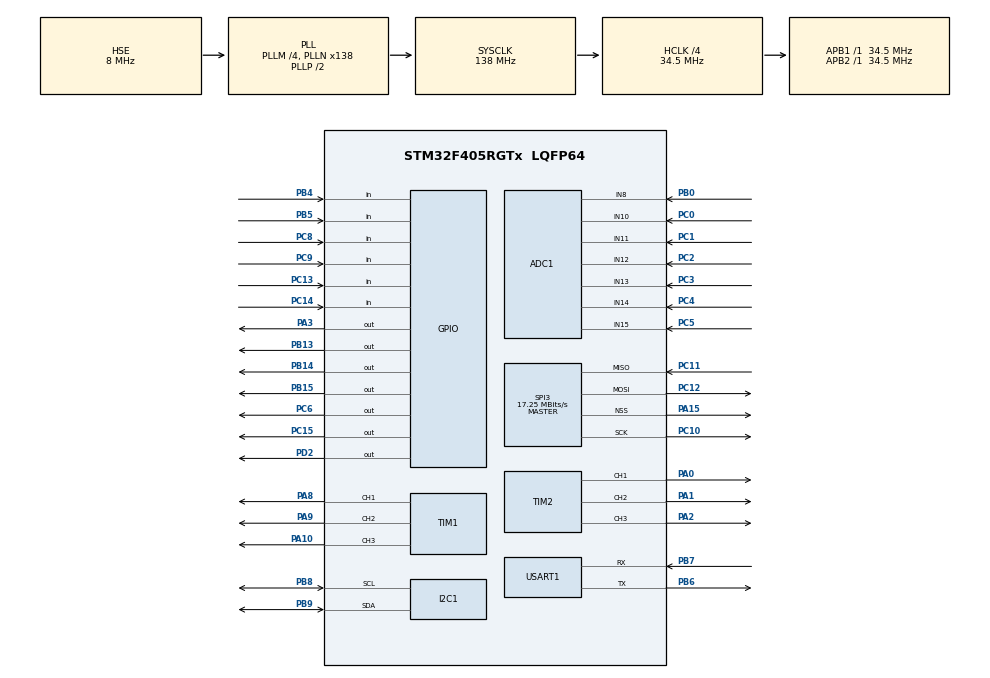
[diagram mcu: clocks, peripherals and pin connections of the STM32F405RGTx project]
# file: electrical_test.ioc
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ADC1.Channel-0\#ChannelRegularConversion=ADC_CHANNEL_14
ADC1.NbrOfConversionFlag=1
ADC1.Rank-0\#ChannelRegularConversion=1
ADC1.SamplingTime-0\#ChannelRegularConversion=ADC_SAMPLETIME_3CYCLES
ADC1.master=1
Mcu.Family=STM32F4
Mcu.Name=STM32F405RGTx
Mcu.Package=LQFP64
NVIC.PriorityGroup=NVIC_PRIORITYGROUP_4
PA0-WKUP.Signal=S_TIM2_CH1_ETR
PA1.Signal=S_TIM2_CH2
PA10.Signal=S_TIM1_CH3
PA13.Mode=Trace_Asynchronous_SW
PA13.Signal=SYS_JTMS-SWDIO
PA14.Mode=Trace_Asynchronous_SW
PA14.Signal=SYS_JTCK-SWCLK
PA15.Mode=NSS_Signal_Hard_Output
PA15.Signal=SPI3_NSS
PA2.Signal=S_TIM2_CH3
PA3.Signal=GPIO_Output
PA8.Signal=S_TIM1_CH1
PA9.Signal=S_TIM1_CH2
PB0.Signal=ADCx_IN8
PB13.Signal=GPIO_Output
PB14.Signal=GPIO_Output
PB15.Signal=GPIO_Output
PB3.Mode=Trace_Asynchronous_SW
PB3.Signal=SYS_JTDO-SWO
PB4.Signal=GPIO_Input
PB5.Signal=GPIO_Input
PB6.Mode=Asynchronous
PB6.Signal=USART1_TX
PB7.Mode=Asynchronous
PB7.Signal=USART1_RX
PB8.Mode=I2C
PB8.Signal=I2C1_SCL
PB9.Mode=I2C
PB9.Signal=I2C1_SDA
PC0.Signal=ADCx_IN10
PC1.Signal=ADCx_IN11
PC10.Mode=Full_Duplex_Master
PC10.Signal=SPI3_SCK
PC11.Mode=Full_Duplex_Master
PC11.Signal=SPI3_MISO
PC12.Mode=Full_Duplex_Master
PC12.Signal=SPI3_MOSI
PC13-ANTI_TAMP.Signal=GPIO_Input
PC14-OSC32_IN.Signal=GPIO_Input
PC15-OSC32_OUT.Signal=GPIO_Output
PC2.Signal=ADCx_IN12
PC3.Signal=ADCx_IN13
PC4.Signal=ADCx_IN14
PC5.Signal=ADCx_IN15
PC6.Signal=GPIO_Output
PC8.Signal=GPIO_Input
PC9.Signal=GPIO_Input
PD2.Signal=GPIO_Output
PH0-OSC_IN.Mode=HSE-External-Oscillator
PH0-OSC_IN.Signal=RCC_OSC_IN
PH1-OSC_OUT.Mode=HSE-External-Oscillator
PH1-OSC_OUT.Signal=RCC_OSC_OUT
ProjectManager.HeapSize=0x200
ProjectManager.StackSize=0x400
ProjectManager.TargetToolchain=Makefile
RCC.48MHZClocksFreq_Value=69000000
RCC.AHBCLKDivider=RCC_SYSCLK_DIV4
RCC.AHBFreq_Value=34500000
RCC.APB1Freq_Value=34500000
RCC.APB1TimFreq_Value=34500000
RCC.APB2Freq_Value=34500000
RCC.APB2TimFreq_Value=34500000
RCC.CortexFreq_Value=34500000
RCC.HCLKFreq_Value=34500000
RCC.HSE_VALUE=8000000
RCC.HSI_VALUE=16000000
RCC.LSE_VALUE=32768
RCC.PLLM=4
RCC.PLLN=138
RCC.PLLSourceVirtual=RCC_PLLSOURCE_HSE
RCC.SYSCLKFreq_VALUE=138000000
RCC.SYSCLKSource=RCC_SYSCLKSOURCE_PLLCLK
RCC.VCOOutputFreq_Value=276000000
SH.ADCx_IN10.0=ADC1_IN10,IN10
SH.ADCx_IN11.0=ADC1_IN11,IN11
SH.ADCx_IN12.0=ADC1_IN12,IN12
SH.ADCx_IN13.0=ADC1_IN13,IN13
SH.ADCx_IN14.0=ADC1_IN14,IN14
SH.ADCx_IN15.0=ADC1_IN15,IN15
SH.ADCx_IN8.0=ADC1_IN8,IN8
SH.S_TIM1_CH1.0=TIM1_CH1,PWM Generation1 CH1
SH.S_TIM1_CH2.0=TIM1_CH2,PWM Generation2 CH2
SH.S_TIM1_CH3.0=TIM1_CH3,PWM Generation3 CH3
SH.S_TIM2_CH1_ETR.0=TIM2_CH1,PWM Generation1 CH1
SH.S_TIM2_CH2.0=TIM2_CH2,PWM Generation2 CH2
SH.S_TIM2_CH3.0=TIM2_CH3,PWM Generation3 CH3
SPI3.CalculateBaudRate=17.25 MBits/s
SPI3.Direction=SPI_DIRECTION_2LINES
SPI3.Mode=SPI_MODE_MASTER
SPI3.VirtualNSS=VM_NSSHARD
SPI3.VirtualType=VM_MASTER
TIM1.Channel-PWM\ Generation1\ CH1=TIM_CHANNEL_1
TIM1.Channel-PWM\ Generation2\ CH2=TIM_CHANNEL_2
TIM1.Channel-PWM\ Generation3\ CH3=TIM_CHANNEL_3
TIM2.Channel-PWM\ Generation1\ CH1=TIM_CHANNEL_1
TIM2.Channel-PWM\ Generation2\ CH2=TIM_CHANNEL_2
TIM2.Channel-PWM\ Generation3\ CH3=TIM_CHANNEL_3
USART1.VirtualMode=VM_ASYNC
VP_TIM1_VS_ClockSourceINT.Mode=Internal
VP_TIM2_VS_ClockSourceINT.Mode=Internal
board=custom

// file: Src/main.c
/**
  ******************************************************************************
  * @file           : main.c
  * @brief          : Main program body
  ******************************************************************************
  ** This notice applies to any and all portions of this file
  * that are not between comment pairs USER CODE BEGIN and
  * USER CODE END. Other portions of this file, whether
  * inserted by the user or by software development tools
  * are owned by their respective copyright owners.
  *
  * COPYRIGHT(c) 2018 STMicroelectronics
  *
  * Redistribution and use in source and binary forms, with or without modification,
  * are permitted provided that the following conditions are met:
  *   1. Redistributions of source code must retain the above copyright notice,
  *      this list of conditions and the following disclaimer.
  *   2. Redistributions in binary form must reproduce the above copyright notice,
  *      this list of conditions and the following disclaimer in the documentation
  *      and/or other materials provided with the distribution.
  *   3. Neither the name of STMicroelectronics nor the names of its contributors
  *      may be used to endorse or promote products derived from this software
  *      without specific prior written permission.
  *
  * THIS SOFTWARE IS PROVIDED BY THE COPYRIGHT HOLDERS AND CONTRIBUTORS "AS IS"
  * AND ANY EXPRESS OR IMPLIED WARRANTIES, INCLUDING, BUT NOT LIMITED TO, THE
  * IMPLIED WARRANTIES OF MERCHANTABILITY AND FITNESS FOR A PARTICULAR PURPOSE ARE
  * DISCLAIMED. IN NO EVENT SHALL THE COPYRIGHT HOLDER OR CONTRIBUTORS BE LIABLE
  * FOR ANY DIRECT, INDIRECT, INCIDENTAL, SPECIAL, EXEMPLARY, OR CONSEQUENTIAL
  * DAMAGES (INCLUDING, BUT NOT LIMITED TO, PROCUREMENT OF SUBSTITUTE GOODS OR
  * SERVICES; LOSS OF USE, DATA, OR PROFITS; OR BUSINESS INTERRUPTION) HOWEVER
  * CAUSED AND ON ANY THEORY OF LIABILITY, WHETHER IN CONTRACT, STRICT LIABILITY,
  * OR TORT (INCLUDING NEGLIGENCE OR OTHERWISE) ARISING IN ANY WAY OUT OF THE USE
  * OF THIS SOFTWARE, EVEN IF ADVISED OF THE POSSIBILITY OF SUCH DAMAGE.
  *
  ******************************************************************************
  */
#include "main.h"
#include "stm32f4xx_hal.h"

/* USER CODE BEGIN Includes */

#include <string.h>

/* USER CODE END Includes */

ADC_HandleTypeDef hadc1;

I2C_HandleTypeDef hi2c1;

SPI_HandleTypeDef hspi3;

TIM_HandleTypeDef htim1;
TIM_HandleTypeDef htim2;

UART_HandleTypeDef huart1;

/* USER CODE BEGIN PV */
/* Private variables ---------------------------------------------------------*/

/* USER CODE END PV */

void SystemClock_Config(void);
static void MX_GPIO_Init(void);
static void MX_ADC1_Init(void);
static void MX_SPI3_Init(void);
static void MX_USART1_UART_Init(void);
static void MX_I2C1_Init(void);
static void MX_TIM1_Init(void);
static void MX_TIM2_Init(void);

void HAL_TIM_MspPostInit(TIM_HandleTypeDef *htim);

/* USER CODE BEGIN PFP */
/* Private function prototypes -----------------------------------------------*/

/* USER CODE END PFP */

/* USER CODE BEGIN 0 */

#define N_ADC_CHANNEL 7

#define PWM_HIGH 50
#define PWM_LOW 5

static void set_motor_state(uint32_t state) {
  TIM_OC_InitTypeDef sConfigOC;

  memset(&sConfigOC, 0, sizeof(sConfigOC));
	sConfigOC.OCMode = TIM_OCMODE_PWM1;
  sConfigOC.Pulse = 0;
  sConfigOC.OCPolarity = TIM_OCPOLARITY_HIGH;
  sConfigOC.OCNPolarity = TIM_OCNPOLARITY_HIGH;
  sConfigOC.OCFastMode = TIM_OCFAST_DISABLE;
  sConfigOC.OCIdleState = TIM_OCIDLESTATE_RESET;
  sConfigOC.OCNIdleState = TIM_OCNIDLESTATE_RESET;

  if (state & 1)
    sConfigOC.Pulse = PWM_HIGH;
  else
    sConfigOC.Pulse = PWM_LOW;

  // MOT_PWM_A
  if (HAL_TIM_PWM_ConfigChannel(&htim1, &sConfigOC, TIM_CHANNEL_3) != HAL_OK) {
      _Error_Handler(__FILE__, __LINE__);
  }
  HAL_TIM_PWM_Start(&htim1, TIM_CHANNEL_3);

  // LED_R
  if (HAL_TIM_PWM_ConfigChannel(&htim2, &sConfigOC, TIM_CHANNEL_1) != HAL_OK) {
      _Error_Handler(__FILE__, __LINE__);
  }
  HAL_TIM_PWM_Start(&htim2, TIM_CHANNEL_1);

  if (state & 2)
    sConfigOC.Pulse = PWM_HIGH;
  else
    sConfigOC.Pulse = PWM_LOW;

  // MOT_PWM_B
  if (HAL_TIM_PWM_ConfigChannel(&htim1, &sConfigOC, TIM_CHANNEL_2) != HAL_OK) {
      _Error_Handler(__FILE__, __LINE__);
  }
  HAL_TIM_PWM_Start(&htim1, TIM_CHANNEL_2);

  // LED_B
  if (HAL_TIM_PWM_ConfigChannel(&htim2, &sConfigOC, TIM_CHANNEL_2) != HAL_OK) {
      _Error_Handler(__FILE__, __LINE__);
  }
  HAL_TIM_PWM_Start(&htim2, TIM_CHANNEL_2);

  if (state & 4)
    sConfigOC.Pulse = PWM_HIGH;
  else
    sConfigOC.Pulse = PWM_LOW;

  // MOT_PWM_C
  if (HAL_TIM_PWM_ConfigChannel(&htim1, &sConfigOC, TIM_CHANNEL_1) != HAL_OK) {
      _Error_Handler(__FILE__, __LINE__);
  }
  HAL_TIM_PWM_Start(&htim1, TIM_CHANNEL_1);

  // LED_G
  if (HAL_TIM_PWM_ConfigChannel(&htim2, &sConfigOC, TIM_CHANNEL_3) != HAL_OK) {
      _Error_Handler(__FILE__, __LINE__);
  }
  HAL_TIM_PWM_Start(&htim2, TIM_CHANNEL_3);
}

#define ACCEL_I2C_ADDR 0xD4
#define ACCEL_WHOAMI_ADDR 0x0F

/* USER CODE END 0 */

int main(void)
{

  /* MCU Configuration----------------------------------------------------------*/

  /* Reset of all peripherals, Initializes the Flash interface and the Systick. */
  HAL_Init();

  /* Configure the system clock */
  SystemClock_Config();

  /* Initialize all configured peripherals */
  MX_GPIO_Init();
  MX_ADC1_Init();
  MX_SPI3_Init();
  MX_USART1_UART_Init();
  MX_I2C1_Init();
  MX_TIM1_Init();
  MX_TIM2_Init();
  /* USER CODE BEGIN 2 */

  // Set RS485_DIR to drive
  HAL_GPIO_WritePin(GPIOD, GPIO_PIN_2, GPIO_PIN_SET);

  // Enable RS485_SHUNT
  HAL_GPIO_WritePin(GPIOC, GPIO_PIN_15, GPIO_PIN_SET);

  // Set LEDs off by default
  HAL_GPIO_WritePin(GPIOA, GPIO_PIN_3 | GPIO_PIN_2 | GPIO_PIN_1 | GPIO_PIN_0, GPIO_PIN_SET);

  // Enable 12V Supply
  //HAL_GPIO_WritePin(GPIOC, GPIO_PIN_6, GPIO_PIN_SET);

  // Disable Motor Resets
  //HAL_GPIO_WritePin(GPIOB, GPIO_PIN_15 | GPIO_PIN_14 | GPIO_PIN_13, GPIO_PIN_SET);

	uint8_t str_buf[128];

  uint32_t count = 0;
  uint32_t adc_value = 0;
  uint32_t adc_values[N_ADC_CHANNEL];

  uint8_t adc_names[N_ADC_CHANNEL][64];
  strcpy(adc_names[0], "VSENSE_VIN");
  strcpy(adc_names[1], "VSENSE_A");
  strcpy(adc_names[2], "VSENSE_B");
  strcpy(adc_names[3], "VSENSE_C");
  strcpy(adc_names[4], "ISENSE_A");
  strcpy(adc_names[5], "ISENSE_B");
  strcpy(adc_names[6], "ISENSE_C");

  ADC_ChannelConfTypeDef sConfig;
  sConfig.Channel = ADC_CHANNEL_13;
  sConfig.Rank = 1;
  sConfig.SamplingTime = ADC_SAMPLETIME_3CYCLES;

  uint32_t adc_channels[7];
  adc_channels[0] = ADC_CHANNEL_13;
	adc_channels[1] = ADC_CHANNEL_10;
  adc_channels[2] = ADC_CHANNEL_11;
  adc_channels[3] = ADC_CHANNEL_12;
  adc_channels[4] = ADC_CHANNEL_14;
  adc_channels[5] = ADC_CHANNEL_15;
  adc_channels[6] = ADC_CHANNEL_8;

  uint32_t mot_state = 0;

  GPIO_PinState octw_state;
  GPIO_PinState fault_state;

  uint8_t i2c_buf[32];
  HAL_StatusTypeDef last_i2c_write_status;
  HAL_StatusTypeDef last_i2c_read_status;

  uint8_t spi_tx_buf[32];
  uint8_t spi_rx_buf[32];
  HAL_StatusTypeDef last_spi_status;

  /* USER CODE END 2 */

  /* Infinite loop */
  /* USER CODE BEGIN WHILE */
  while (1) {

    // Cycle reset lines to clear any fault
    //HAL_GPIO_WritePin(GPIOB, GPIO_PIN_15 | GPIO_PIN_14 | GPIO_PIN_13, GPIO_PIN_RESET);
    //HAL_Delay(10);
    //HAL_GPIO_WritePin(GPIOB, GPIO_PIN_15 | GPIO_PIN_14 | GPIO_PIN_13, GPIO_PIN_SET);

    // Set motor state
    //mot_state = (mot_state + 1) % 4;

    //set_motor_state(7);

    // Toggle LED
    HAL_GPIO_WritePin(GPIOA, GPIO_PIN_3, GPIO_PIN_RESET);
    HAL_Delay(190);

    // Read motor driver overcurrent and fault bits
    //octw_state = HAL_GPIO_ReadPin(GPIOC, GPIO_PIN_9);
    //fault_state = HAL_GPIO_ReadPin(GPIOC, GPIO_PIN_8);

    //sprintf(str_buf, "count:%d state:%d octw:%d fault:%d\r\n", count, mot_state, octw_state, fault_state);
    //HAL_UART_Transmit(&huart1, str_buf, strlen(str_buf), 0xFFFF);
    count += 1;

    // Read accelerometer via I2C
    //i2c_buf[0] = ACCEL_WHOAMI_ADDR;
    //last_i2c_write_status = HAL_I2C_Master_Transmit(&hi2c1, ACCEL_I2C_ADDR, i2c_buf, 1, 1000);
    //last_i2c_read_status = HAL_I2C_Master_Receive(&hi2c1, ACCEL_I2C_ADDR, i2c_buf, 1, 1000);

    //sprintf(str_buf, "WS:%d RS:%d RD:0x%02X\r\n", last_i2c_write_status, last_i2c_read_status, i2c_buf[0]);
    //HAL_UART_Transmit(&huart1, str_buf, strlen(str_buf), 0xFFFF);

    // Read magnetometer via SPI
    //last_spi_status = HAL_SPI_TransmitReceive(&hspi3, spi_tx_buf, spi_rx_buf, 2, 1000);
    //sprintf(str_buf, "TRS:%d RD:0x%02X%02X\r\n", last_spi_status, spi_rx_buf[0], spi_rx_buf[1]);
    //HAL_UART_Transmit(&huart1, str_buf, strlen(str_buf), 0xFFFF);

    /*
    for(int i = 0; i < N_ADC_CHANNEL; i++) {
      sConfig.Channel = adc_channels[i];

      if (HAL_ADC_ConfigChannel(&hadc1, &sConfig) != HAL_OK) {
        _Error_Handler(__FILE__, __LINE__);
      }

      HAL_ADC_Start(&hadc1);
      if (HAL_ADC_PollForConversion(&hadc1, 10) == HAL_OK) {
        adc_values[i] = HAL_ADC_GetValue(&hadc1);
      }
    }

    sprintf(buf, "VA:%04d VB:%04d VC:%04d VIN:%04d\r\n", adc_values[1], adc_values[2], adc_values[3], adc_values[0]);
    HAL_UART_Transmit(&huart1, buf, strlen(buf), 0xFFFF);

    sprintf(buf, "IA:%04d IB:%04d IC:%04d\r\n", adc_values[4], adc_values[5], adc_values[6]);
    HAL_UART_Transmit(&huart1, buf, strlen(buf), 0xFFFF);
    */

    // Toggle LED
    HAL_GPIO_WritePin(GPIOA, GPIO_PIN_3, GPIO_PIN_SET);
    HAL_Delay(200);

  /* USER CODE END WHILE */

  }

}

void SystemClock_Config(void)
{

  RCC_OscInitTypeDef RCC_OscInitStruct;
  RCC_ClkInitTypeDef RCC_ClkInitStruct;

    /**Configure the main internal regulator output voltage
    */
  __HAL_RCC_PWR_CLK_ENABLE();

  __HAL_PWR_VOLTAGESCALING_CONFIG(PWR_REGULATOR_VOLTAGE_SCALE1);

    /**Initializes the CPU, AHB and APB busses clocks
    */
  RCC_OscInitStruct.OscillatorType = RCC_OSCILLATORTYPE_HSE;
  RCC_OscInitStruct.HSEState = RCC_HSE_ON;
  RCC_OscInitStruct.PLL.PLLState = RCC_PLL_ON;
  RCC_OscInitStruct.PLL.PLLSource = RCC_PLLSOURCE_HSE;
  RCC_OscInitStruct.PLL.PLLM = 4;
  RCC_OscInitStruct.PLL.PLLN = 138;
  RCC_OscInitStruct.PLL.PLLP = RCC_PLLP_DIV2;
  RCC_OscInitStruct.PLL.PLLQ = 4;
  if (HAL_RCC_OscConfig(&RCC_OscInitStruct) != HAL_OK)
  {
    _Error_Handler(__FILE__, __LINE__);
  }

    /**Initializes the CPU, AHB and APB busses clocks
    */
  RCC_ClkInitStruct.ClockType = RCC_CLOCKTYPE_HCLK|RCC_CLOCKTYPE_SYSCLK
                              |RCC_CLOCKTYPE_PCLK1|RCC_CLOCKTYPE_PCLK2;
  RCC_ClkInitStruct.SYSCLKSource = RCC_SYSCLKSOURCE_PLLCLK;
  RCC_ClkInitStruct.AHBCLKDivider = RCC_SYSCLK_DIV4;
  RCC_ClkInitStruct.APB1CLKDivider = RCC_HCLK_DIV1;
  RCC_ClkInitStruct.APB2CLKDivider = RCC_HCLK_DIV1;

  if (HAL_RCC_ClockConfig(&RCC_ClkInitStruct, FLASH_LATENCY_1) != HAL_OK)
  {
    _Error_Handler(__FILE__, __LINE__);
  }

    /**Configure the Systick interrupt time
    */
  HAL_SYSTICK_Config(HAL_RCC_GetHCLKFreq()/1000);

    /**Configure the Systick
    */
  HAL_SYSTICK_CLKSourceConfig(SYSTICK_CLKSOURCE_HCLK);

  /* SysTick_IRQn interrupt configuration */
  HAL_NVIC_SetPriority(SysTick_IRQn, 0, 0);
}

/* ADC1 init function */
static void MX_ADC1_Init(void)
{

  ADC_ChannelConfTypeDef sConfig;

    /**Configure the global features of the ADC (Clock, Resolution, Data Alignment and number of conversion)
    */
  hadc1.Instance = ADC1;
  hadc1.Init.ClockPrescaler = ADC_CLOCK_SYNC_PCLK_DIV2;
  hadc1.Init.Resolution = ADC_RESOLUTION_12B;
  hadc1.Init.ScanConvMode = DISABLE;
  hadc1.Init.ContinuousConvMode = DISABLE;
  hadc1.Init.DiscontinuousConvMode = DISABLE;
  hadc1.Init.ExternalTrigConvEdge = ADC_EXTERNALTRIGCONVEDGE_NONE;
  hadc1.Init.ExternalTrigConv = ADC_SOFTWARE_START;
  hadc1.Init.DataAlign = ADC_DATAALIGN_RIGHT;
  hadc1.Init.NbrOfConversion = 1;
  hadc1.Init.DMAContinuousRequests = DISABLE;
  hadc1.Init.EOCSelection = ADC_EOC_SINGLE_CONV;
  if (HAL_ADC_Init(&hadc1) != HAL_OK)
  {
    _Error_Handler(__FILE__, __LINE__);
  }

    /**Configure for the selected ADC regular channel its corresponding rank in the sequencer and its sample time.
    */
  sConfig.Channel = ADC_CHANNEL_14;
  sConfig.Rank = 1;
  sConfig.SamplingTime = ADC_SAMPLETIME_3CYCLES;
  if (HAL_ADC_ConfigChannel(&hadc1, &sConfig) != HAL_OK)
  {
    _Error_Handler(__FILE__, __LINE__);
  }

}

/* I2C1 init function */
static void MX_I2C1_Init(void)
{

  hi2c1.Instance = I2C1;
  hi2c1.Init.ClockSpeed = 100000;
  hi2c1.Init.DutyCycle = I2C_DUTYCYCLE_2;
  hi2c1.Init.OwnAddress1 = 0;
  hi2c1.Init.AddressingMode = I2C_ADDRESSINGMODE_7BIT;
  hi2c1.Init.DualAddressMode = I2C_DUALADDRESS_DISABLE;
  hi2c1.Init.OwnAddress2 = 0;
  hi2c1.Init.GeneralCallMode = I2C_GENERALCALL_DISABLE;
  hi2c1.Init.NoStretchMode = I2C_NOSTRETCH_DISABLE;
  if (HAL_I2C_Init(&hi2c1) != HAL_OK)
  {
    _Error_Handler(__FILE__, __LINE__);
  }

}

/* SPI3 init function */
static void MX_SPI3_Init(void)
{

  /* SPI3 parameter configuration*/
  hspi3.Instance = SPI3;
  hspi3.Init.Mode = SPI_MODE_MASTER;
  hspi3.Init.Direction = SPI_DIRECTION_2LINES;
  hspi3.Init.DataSize = SPI_DATASIZE_8BIT;
  hspi3.Init.CLKPolarity = SPI_POLARITY_HIGH;
  hspi3.Init.CLKPhase = SPI_PHASE_2EDGE;
  hspi3.Init.NSS = SPI_NSS_HARD_OUTPUT;
  hspi3.Init.BaudRatePrescaler = SPI_BAUDRATEPRESCALER_64;
  hspi3.Init.FirstBit = SPI_FIRSTBIT_MSB;
  hspi3.Init.TIMode = SPI_TIMODE_DISABLE;
  hspi3.Init.CRCCalculation = SPI_CRCCALCULATION_DISABLE;
  hspi3.Init.CRCPolynomial = 10;
  if (HAL_SPI_Init(&hspi3) != HAL_OK)
  {
    _Error_Handler(__FILE__, __LINE__);
  }

}

/* TIM1 init function */
static void MX_TIM1_Init(void)
{

  TIM_ClockConfigTypeDef sClockSourceConfig;
  TIM_MasterConfigTypeDef sMasterConfig;
  TIM_OC_InitTypeDef sConfigOC;
  TIM_BreakDeadTimeConfigTypeDef sBreakDeadTimeConfig;

  htim1.Instance = TIM1;
  htim1.Init.Prescaler = 16;
  htim1.Init.CounterMode = TIM_COUNTERMODE_UP;
  htim1.Init.Period = 100;
  htim1.Init.ClockDivision = TIM_CLOCKDIVISION_DIV1;
  htim1.Init.RepetitionCounter = 0;
  if (HAL_TIM_Base_Init(&htim1) != HAL_OK)
  {
    _Error_Handler(__FILE__, __LINE__);
  }

  sClockSourceConfig.ClockSource = TIM_CLOCKSOURCE_INTERNAL;
  if (HAL_TIM_ConfigClockSource(&htim1, &sClockSourceConfig) != HAL_OK)
  {
    _Error_Handler(__FILE__, __LINE__);
  }

  if (HAL_TIM_PWM_Init(&htim1) != HAL_OK)
  {
    _Error_Handler(__FILE__, __LINE__);
  }

  sMasterConfig.MasterOutputTrigger = TIM_TRGO_RESET;
  sMasterConfig.MasterSlaveMode = TIM_MASTERSLAVEMODE_DISABLE;
  if (HAL_TIMEx_MasterConfigSynchronization(&htim1, &sMasterConfig) != HAL_OK)
  {
    _Error_Handler(__FILE__, __LINE__);
  }

  sConfigOC.OCMode = TIM_OCMODE_PWM1;
  sConfigOC.Pulse = 0;
  sConfigOC.OCPolarity = TIM_OCPOLARITY_HIGH;
  sConfigOC.OCNPolarity = TIM_OCNPOLARITY_HIGH;
  sConfigOC.OCFastMode = TIM_OCFAST_DISABLE;
  sConfigOC.OCIdleState = TIM_OCIDLESTATE_RESET;
  sConfigOC.OCNIdleState = TIM_OCNIDLESTATE_RESET;
  if (HAL_TIM_PWM_ConfigChannel(&htim1, &sConfigOC, TIM_CHANNEL_1) != HAL_OK)
  {
    _Error_Handler(__FILE__, __LINE__);
  }

  if (HAL_TIM_PWM_ConfigChannel(&htim1, &sConfigOC, TIM_CHANNEL_2) != HAL_OK)
  {
    _Error_Handler(__FILE__, __LINE__);
  }

  if (HAL_TIM_PWM_ConfigChannel(&htim1, &sConfigOC, TIM_CHANNEL_3) != HAL_OK)
  {
    _Error_Handler(__FILE__, __LINE__);
  }

  sBreakDeadTimeConfig.OffStateRunMode = TIM_OSSR_DISABLE;
  sBreakDeadTimeConfig.OffStateIDLEMode = TIM_OSSI_DISABLE;
  sBreakDeadTimeConfig.LockLevel = TIM_LOCKLEVEL_OFF;
  sBreakDeadTimeConfig.DeadTime = 0;
  sBreakDeadTimeConfig.BreakState = TIM_BREAK_DISABLE;
  sBreakDeadTimeConfig.BreakPolarity = TIM_BREAKPOLARITY_HIGH;
  sBreakDeadTimeConfig.AutomaticOutput = TIM_AUTOMATICOUTPUT_DISABLE;
  if (HAL_TIMEx_ConfigBreakDeadTime(&htim1, &sBreakDeadTimeConfig) != HAL_OK)
  {
    _Error_Handler(__FILE__, __LINE__);
  }

  HAL_TIM_MspPostInit(&htim1);

}

/* TIM2 init function */
static void MX_TIM2_Init(void)
{

  TIM_ClockConfigTypeDef sClockSourceConfig;
  TIM_MasterConfigTypeDef sMasterConfig;
  TIM_OC_InitTypeDef sConfigOC;

  htim2.Instance = TIM2;
  htim2.Init.Prescaler = 16;
  htim2.Init.CounterMode = TIM_COUNTERMODE_UP;
  htim2.Init.Period = 100;
  htim2.Init.ClockDivision = TIM_CLOCKDIVISION_DIV1;
  if (HAL_TIM_Base_Init(&htim2) != HAL_OK)
  {
    _Error_Handler(__FILE__, __LINE__);
  }

  sClockSourceConfig.ClockSource = TIM_CLOCKSOURCE_INTERNAL;
  if (HAL_TIM_ConfigClockSource(&htim2, &sClockSourceConfig) != HAL_OK)
  {
    _Error_Handler(__FILE__, __LINE__);
  }

  if (HAL_TIM_PWM_Init(&htim2) != HAL_OK)
  {
    _Error_Handler(__FILE__, __LINE__);
  }

  sMasterConfig.MasterOutputTrigger = TIM_TRGO_RESET;
  sMasterConfig.MasterSlaveMode = TIM_MASTERSLAVEMODE_DISABLE;
  if (HAL_TIMEx_MasterConfigSynchronization(&htim2, &sMasterConfig) != HAL_OK)
  {
    _Error_Handler(__FILE__, __LINE__);
  }

  sConfigOC.OCMode = TIM_OCMODE_PWM1;
  sConfigOC.Pulse = 0;
  sConfigOC.OCPolarity = TIM_OCPOLARITY_HIGH;
  sConfigOC.OCFastMode = TIM_OCFAST_DISABLE;
  if (HAL_TIM_PWM_ConfigChannel(&htim2, &sConfigOC, TIM_CHANNEL_1) != HAL_OK)
  {
    _Error_Handler(__FILE__, __LINE__);
  }

  if (HAL_TIM_PWM_ConfigChannel(&htim2, &sConfigOC, TIM_CHANNEL_2) != HAL_OK)
  {
    _Error_Handler(__FILE__, __LINE__);
  }

  if (HAL_TIM_PWM_ConfigChannel(&htim2, &sConfigOC, TIM_CHANNEL_3) != HAL_OK)
  {
    _Error_Handler(__FILE__, __LINE__);
  }

  HAL_TIM_MspPostInit(&htim2);

}

/* USART1 init function */
static void MX_USART1_UART_Init(void)
{

  huart1.Instance = USART1;
  huart1.Init.BaudRate = 115200;
  huart1.Init.WordLength = UART_WORDLENGTH_8B;
  huart1.Init.StopBits = UART_STOPBITS_1;
  huart1.Init.Parity = UART_PARITY_NONE;
  huart1.Init.Mode = UART_MODE_TX_RX;
  huart1.Init.HwFlowCtl = UART_HWCONTROL_NONE;
  huart1.Init.OverSampling = UART_OVERSAMPLING_16;
  if (HAL_UART_Init(&huart1) != HAL_OK)
  {
    _Error_Handler(__FILE__, __LINE__);
  }

}

/** Configure pins as
        * Analog
        * Input
        * Output
        * EVENT_OUT
        * EXTI
*/
static void MX_GPIO_Init(void)
{

  GPIO_InitTypeDef GPIO_InitStruct;

  /* GPIO Ports Clock Enable */
  __HAL_RCC_GPIOC_CLK_ENABLE();
  __HAL_RCC_GPIOH_CLK_ENABLE();
  __HAL_RCC_GPIOA_CLK_ENABLE();
  __HAL_RCC_GPIOB_CLK_ENABLE();
  __HAL_RCC_GPIOD_CLK_ENABLE();

  /*Configure GPIO pin Output Level */
  HAL_GPIO_WritePin(GPIOC, GPIO_PIN_15|GPIO_PIN_6, GPIO_PIN_RESET);

  /*Configure GPIO pin Output Level */
  HAL_GPIO_WritePin(GPIOA, GPIO_PIN_3, GPIO_PIN_RESET);

  /*Configure GPIO pin Output Level */
  HAL_GPIO_WritePin(GPIOB, GPIO_PIN_13|GPIO_PIN_14|GPIO_PIN_15, GPIO_PIN_RESET);

  /*Configure GPIO pin Output Level */
  HAL_GPIO_WritePin(GPIOD, GPIO_PIN_2, GPIO_PIN_RESET);

  /*Configure GPIO pins : PC13 PC14 PC8 PC9 */
  GPIO_InitStruct.Pin = GPIO_PIN_13|GPIO_PIN_14|GPIO_PIN_8|GPIO_PIN_9;
  GPIO_InitStruct.Mode = GPIO_MODE_INPUT;
  GPIO_InitStruct.Pull = GPIO_NOPULL;
  HAL_GPIO_Init(GPIOC, &GPIO_InitStruct);

  /*Configure GPIO pins : PC15 PC6 */
  GPIO_InitStruct.Pin = GPIO_PIN_15|GPIO_PIN_6;
  GPIO_InitStruct.Mode = GPIO_MODE_OUTPUT_PP;
  GPIO_InitStruct.Pull = GPIO_NOPULL;
  GPIO_InitStruct.Speed = GPIO_SPEED_FREQ_LOW;
  HAL_GPIO_Init(GPIOC, &GPIO_InitStruct);

  /*Configure GPIO pin : PA3 */
  GPIO_InitStruct.Pin = GPIO_PIN_3;
  GPIO_InitStruct.Mode = GPIO_MODE_OUTPUT_PP;
  GPIO_InitStruct.Pull = GPIO_NOPULL;
  GPIO_InitStruct.Speed = GPIO_SPEED_FREQ_LOW;
  HAL_GPIO_Init(GPIOA, &GPIO_InitStruct);

  /*Configure GPIO pins : PB13 PB14 PB15 */
  GPIO_InitStruct.Pin = GPIO_PIN_13|GPIO_PIN_14|GPIO_PIN_15;
  GPIO_InitStruct.Mode = GPIO_MODE_OUTPUT_PP;
  GPIO_InitStruct.Pull = GPIO_NOPULL;
  GPIO_InitStruct.Speed = GPIO_SPEED_FREQ_LOW;
  HAL_GPIO_Init(GPIOB, &GPIO_InitStruct);

  /*Configure GPIO pin : PD2 */
  GPIO_InitStruct.Pin = GPIO_PIN_2;
  GPIO_InitStruct.Mode = GPIO_MODE_OUTPUT_PP;
  GPIO_InitStruct.Pull = GPIO_NOPULL;
  GPIO_InitStruct.Speed = GPIO_SPEED_FREQ_LOW;
  HAL_GPIO_Init(GPIOD, &GPIO_InitStruct);

  /*Configure GPIO pins : PB4 PB5 */
  GPIO_InitStruct.Pin = GPIO_PIN_4|GPIO_PIN_5;
  GPIO_InitStruct.Mode = GPIO_MODE_INPUT;
  GPIO_InitStruct.Pull = GPIO_NOPULL;
  HAL_GPIO_Init(GPIOB, &GPIO_InitStruct);

}

void _Error_Handler(char *file, int line)
{
  while(1)
  {
  }
}

/************************ (C) COPYRIGHT STMicroelectronics *****END OF FILE****/
